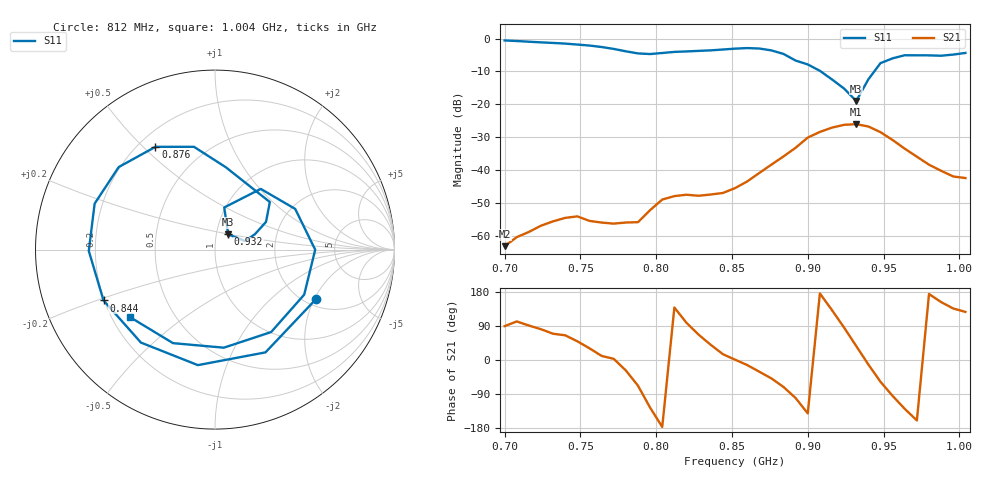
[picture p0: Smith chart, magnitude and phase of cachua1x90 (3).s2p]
# Hz S RI R 50
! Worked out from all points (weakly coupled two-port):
!   39 points, 700 MHz to 1.004 GHz, reference 50 ohm
!   highest |S21| = -26.05 dB at 932 MHz (marker M1); lowest = -63.2 dB at 700 MHz (marker M2)
!   lowest |S11| = -19.0 dB at 932 MHz (marker M3), VSWR 1.25, Z = 57 + j9.82 ohm
!   |S11| at or under -10 dB: 908.6 MHz to 943.9 MHz (35.28 MHz wide, 3.81 % of centre)
!   S12 and S22 are empty: the file has one direction only
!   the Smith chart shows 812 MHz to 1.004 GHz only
!   S11 on the Smith chart (normalised r, x): 812 MHz: 2.30, -2.07; 844 MHz: 0.20, -0.21; 876 MHz: 0.27, +0.54; 932 MHz: 1.14, +0.20; 1.004 GHz: 0.27, -0.33
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7e8  0.7582 0.5511  9.04e-06 0.000692  0 0  0 0
7.24e8  0.8414 -0.2455  0.000216 0.0014  0 0  0 0
7.4e8  0.4582 -0.7029  0.000784 0.00169  0 0  0 0
7.56e8  -0.1934 -0.7597  0.00144 0.000861  0 0  0 0
7.72e8  -0.6667 -0.2032  0.00152 8.02e-05  0 0  0 0
7.8e8  -0.5994 0.2249  0.0014 -0.000737  0 0  0 0
7.88e8  -0.256 0.5373  0.000604 -0.00149  0 0  0 0
7.96e8  0.235 0.5324  -0.00143 -0.00199  0 0  0 0
8.04e8  0.5746 0.1864  -0.00354 -0.000206  0 0  0 0
8.12e8  0.5652 -0.2732  -0.00299 0.00265  0 0  0 0
8.28e8  -0.0955 -0.6437  0.00159 0.00372  0 0  0 0
8.44e8  -0.6208 -0.2835  0.0043 0.00119  0 0  0 0
8.52e8  -0.7032 -0.0078  0.00529 8.36e-05  0 0  0 0
8.76e8  -0.3318 0.5725  0.00798 -0.00904  0 0  0 0
9e8  0.3055 0.265  -0.0242 -0.0196  0 0  0 0
9.08e8  0.2843 0.1545  -0.0379 0.00286  0 0  0 0
9.32e8  0.0733 0.085  0.0399 0.0298  0 0  0 0
9.48e8  0.2547 0.3382  0.0202 -0.0318  0 0  0 0
9.56e8  0.4468 0.2267  -0.00241 -0.0285  0 0  0 0
9.64e8  0.5583 -0.000656  -0.0133 -0.0164  0 0  0 0
9.8e8  0.3129 -0.4593  -0.012 0.00123  0 0  0 0
1.004e9  -0.4735 -0.3762  -0.00453 0.00602  0 0  0 0
